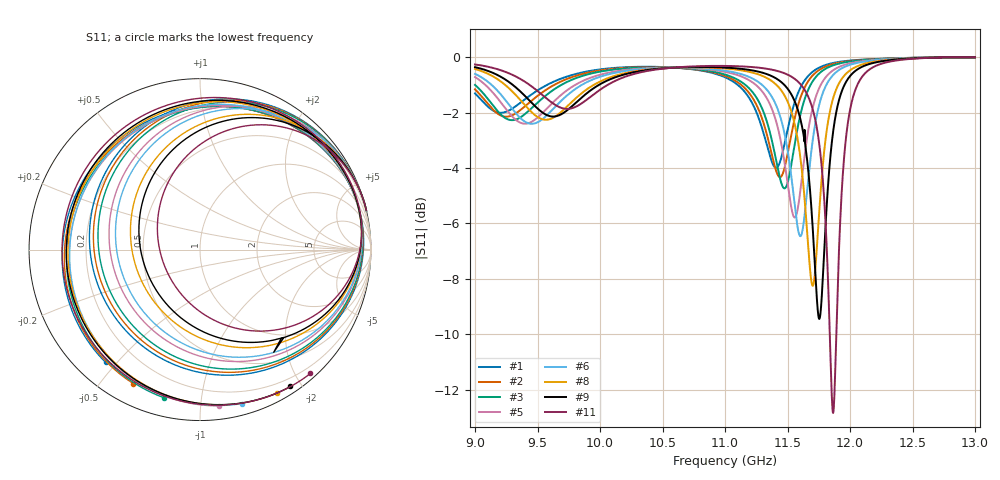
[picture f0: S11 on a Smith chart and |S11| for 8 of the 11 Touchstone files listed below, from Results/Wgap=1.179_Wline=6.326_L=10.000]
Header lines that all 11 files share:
! TOUCHSTONE file generated by CST DESIGN STUDIO
! Project name: C:\Work\MatlabApps\UnitCellOptimizationMatlab\CST\unitcell.cst
! Tree item: Tasks\Sweep1\SPara1\S-Parameters
! Header version: 2024
! Port assignment regex: !\s*Touchstone port\s*([0-9]+)\s*=\s*(CST MWS port|CST DES external port|CST DES block port)\s*(.+)\s* \(\"(.*)\"\)(\s*mode\s*([0-9]+))?.*
! Touchstone port assignment:
! Touchstone port 1 = CST DES external port 1 ("")
# GHz S MA R 50
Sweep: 9 GHz to 13 GHz
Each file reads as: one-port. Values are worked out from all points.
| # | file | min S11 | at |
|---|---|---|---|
| 1 | DS_for_MWS-run-0001.s1p | -4.0 dB | 11.41 GHz |
| 2 | DS_for_MWS-run-0002.s1p | -4.3 dB | 11.44 GHz |
| 3 | DS_for_MWS-run-0003.s1p | -4.7 dB | 11.48 GHz |
| 4 | DS_for_MWS-run-0004.s1p | -5.2 dB | 11.52 GHz |
| 5 | DS_for_MWS-run-0005.s1p | -5.8 dB | 11.56 GHz |
| 6 | DS_for_MWS-run-0006.s1p | -6.5 dB | 11.6 GHz |
| 7 | DS_for_MWS-run-0007.s1p | -7.3 dB | 11.65 GHz |
| 8 | DS_for_MWS-run-0008.s1p | -8.3 dB | 11.7 GHz |
| 9 | DS_for_MWS-run-0009.s1p | -9.5 dB | 11.75 GHz |
| 10 | DS_for_MWS-run-0010.s1p | -10.9 dB | 11.81 GHz |
| 11 | DS_for_MWS-run-0011.s1p | -12.8 dB | 11.87 GHz |
